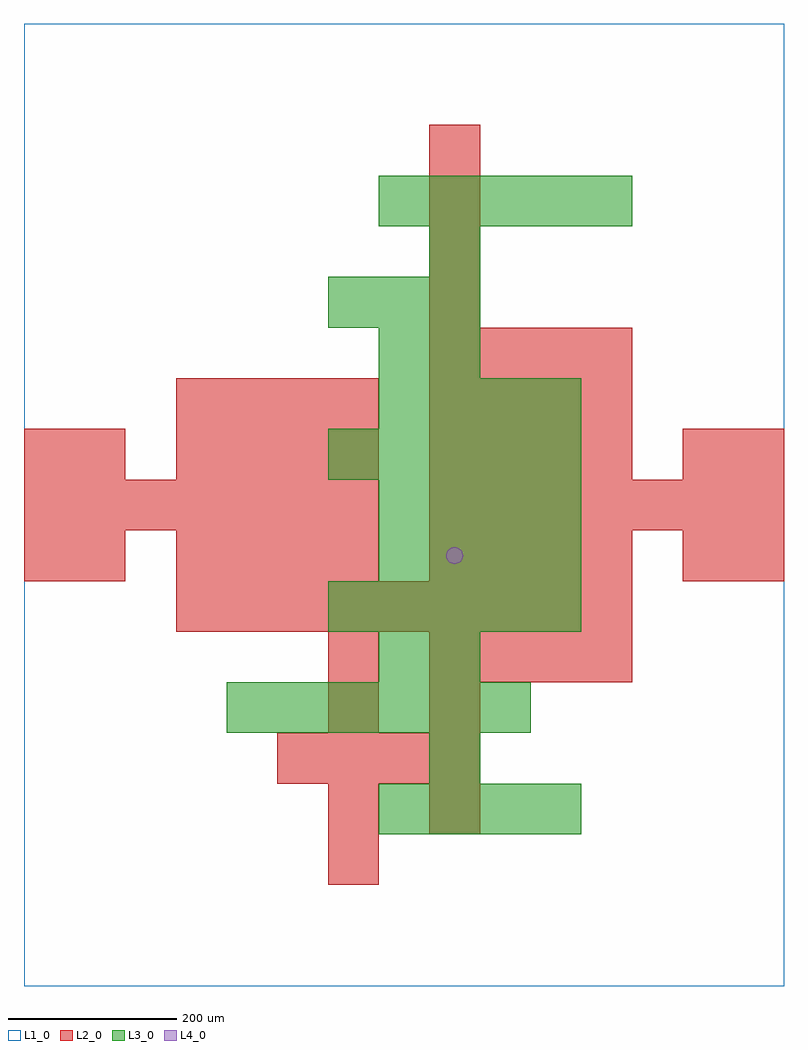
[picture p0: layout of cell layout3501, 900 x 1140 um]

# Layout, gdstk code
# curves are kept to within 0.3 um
import gdstk
lib = gdstk.Library(unit=1e-6, precision=1e-09)
def R(c, l, rs):  # rectangles x0, y0, x1, y1
    for r in rs: c.add(gdstk.rectangle(r[:2], r[2:], *l))
def A(c, l, x, y, w, h, nx, ny, dx, dy):  # array of equal rectangles
    R(c, l, [(x+i*dx, y+j*dy, x+i*dx+w, y+j*dy+h) for i in range(nx) for j in range(ny)])
def P(c, l, *ps):  # polygons
    for p in ps: c.add(gdstk.Polygon(p, *l))
L1_0 = (1, 0)
L2_0 = (2, 0)
L3_0 = (3, 0)
L4_0 = (4, 0)

layout3501 = lib.new_cell('layout3501')
R(layout3501, L1_0, [(0,0,900,1140)])
A(layout3501, L2_0, 300, 240, 60, 60, 4, 1, 60, 0)
A(layout3501, L2_0, 480, 360, 60, 60, 4, 3, 60, 120)
A(layout3501, L2_0, 180, 420, 60, 60, 9, 1, 60, 0)
A(layout3501, L2_0, 180, 480, 60, 60, 4, 2, 60, 120)
A(layout3501, L2_0, 0, 540, 60, 60, 7, 1, 60, 0)
A(layout3501, L2_0, 480, 540, 60, 60, 7, 1, 60, 0)
A(layout3501, L2_0, 180, 660, 60, 60, 4, 1, 60, 0)
A(layout3501, L2_0, 480, 660, 60, 60, 4, 2, 60, 60)
A(layout3501, L2_0, 480, 780, 60, 60, 1, 4, 0, 60)
R(layout3501, L2_0, [(360,120,420,180), (360,180,420,240), (480,180,540,240), (360,300,420,360), (480,300,540,360), (360,360,420,420), (0,480,60,540), (60,480,120,540), (780,480,840,540), (840,480,900,540), (0,600,60,660), (60,600,120,660), (780,600,840,660), (840,600,900,660)])
A(layout3501, L3_0, 420, 180, 60, 60, 4, 2, 60, 300)
A(layout3501, L3_0, 240, 300, 60, 60, 6, 1, 60, 0)
A(layout3501, L3_0, 360, 420, 60, 60, 5, 2, 60, 180)
A(layout3501, L3_0, 420, 540, 60, 60, 4, 2, 60, 120)
A(layout3501, L3_0, 360, 780, 60, 60, 3, 1, 60, 0)
A(layout3501, L3_0, 420, 900, 60, 60, 5, 1, 60, 0)
R(layout3501, L3_0, [(480,240,540,300), (420,360,480,420), (480,360,540,420), (420,720,480,780), (480,720,540,780), (480,840,540,900)])
P(layout3501, L4_0, [(520,510),(519.239,513.827),(517.071,517.071),(513.827,519.239),(510,520),(506.173,519.239),(502.929,517.071),(500.761,513.827),(500,510),(500.761,506.173),(502.929,502.929),(506.173,500.761),(510,500),(513.827,500.761),(517.071,502.929),(519.239,506.173)])

lib.write_gds('layout3501.gds')
